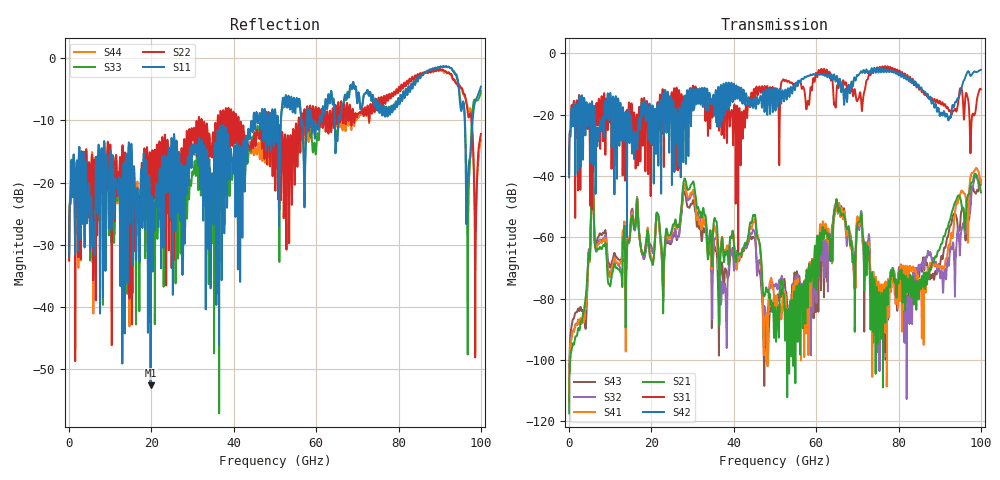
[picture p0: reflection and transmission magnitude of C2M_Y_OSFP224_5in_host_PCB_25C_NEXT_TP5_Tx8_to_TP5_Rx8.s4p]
# GHz S RI R 45
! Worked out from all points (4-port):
!   4000 points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, 25 MHz to 100 GHz, reference 45 ohm
!   strongest paths, dB at 25 MHz, 25.02 GHz, 50.02 GHz, 75.03 GHz, 100 GHz:
!     S42: -40.5, -26.7, -15.4, -5.8, -5.4
!     S31: -39.3, -13.4, -11.4, -5.3, -11.7
!     S21: -117.4, -57.2, -82.8, -91.0, -45.4
!     S41: -113.9, -58.0, -81.4, -75.2, -42.3
!     S32: -113.5, -60.1, -76.0, -78.7, -42.9
!     S43: -110.4, -61.0, -79.8, -83.8, -41.4
!   lowest |S11| = -52.6 dB at 19.8 GHz (marker M1), VSWR 1.00, Z = 45.2 - j0.127 ohm
!   |S11| at or under -10 dB: start of sweep to 44.74 GHz; 59.38 GHz to 60.78 GHz (1.401 GHz wide, 2.33 % of centre); 96.08 GHz to 98 GHz (1.929 GHz wide, 1.99 % of centre) (the widest 3 of 19)
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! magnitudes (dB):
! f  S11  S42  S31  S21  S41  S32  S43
! 25 MHz  -31.9  -40.5  -39.3  -117.4  -113.9  -113.5  -110.4
! 5.7 GHz  -29.5  -17.6  -30.4  -39.7  -39.6  -39.6  -39.5
! 19.8 GHz  -52.6  -18.4  -37.5  -67.0  -65.9  -63.3  -62.5
! 28.15 GHz  -24.0  -14.4  -21.8  -40.9  -42.8  -43.4  -45.4
! 37.15 GHz  -16.4  -19.5  -18.7  -60.1  -59.9  -75.0  -68.2
! 82.28 GHz  -5.2  -7.8  -7.7  -73.7  -69.8  -79.7  -75.6
! 100 GHz  -4.6  -5.4  -11.7  -45.4  -42.3  -42.9  -41.4
